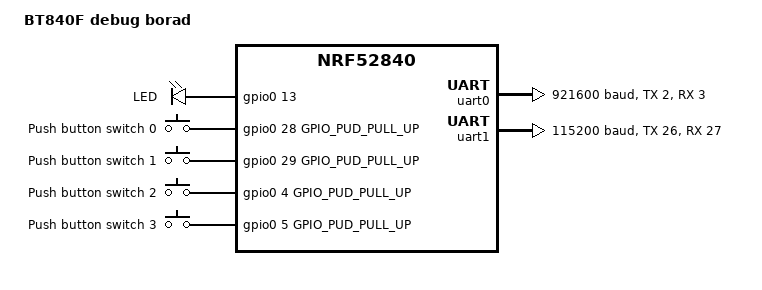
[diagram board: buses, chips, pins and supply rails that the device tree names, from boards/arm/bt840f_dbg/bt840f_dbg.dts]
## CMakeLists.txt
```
# SPDX-License-Identifier: Apache-2.0

cmake_minimum_required(VERSION 3.13.1)
# Re-direct the directory where the 'boards' directory is found from
# $ZEPHYR_BASE to this directory.
set(BOARD_ROOT ${CMAKE_CURRENT_LIST_DIR})

if(NOT DEFINED BOARD)
   set(BOARD bt840f_dbg)
endif()

include($ENV{ZEPHYR_BASE}/cmake/app/boilerplate.cmake NO_POLICY_SCOPE)
project(BT-rate-test)

target_sources(app PRIVATE
  src/main.c
  src/bt.c
  src/lna.c
  src/hog.c
)

zephyr_library_include_directories(src/)
```

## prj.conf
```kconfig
# Incresed stack due to settings API usage
CONFIG_SYSTEM_WORKQUEUE_STACK_SIZE=2048

CONFIG_BT=y
CONFIG_BT_DEBUG_LOG=y

CONFIG_BT_SMP=y
CONFIG_BT_SIGNING=y
CONFIG_BT_PERIPHERAL=y
CONFIG_BT_GATT_DIS=y
CONFIG_BT_ATT_PREPARE_COUNT=5
# Uncomment for dunamic address
# CONFIG_BT_PRIVACY=y
CONFIG_BT_DEVICE_NAME="BLE rate tester"
CONFIG_BT_DEVICE_APPEARANCE=0
CONFIG_BT_DEVICE_NAME_DYNAMIC=y
CONFIG_BT_DEVICE_NAME_MAX=65
#Number of devices paired
CONFIG_BT_MAX_PAIRED=2
#Number of connections. Leave 1 pls.
CONFIG_BT_MAX_CONN=1
CONFIG_BT_SETTINGS=y
# Large MTU
CONFIG_BT_HCI_ACL_FLOW_CONTROL=y
CONFIG_BT_ACL_RX_COUNT=4
CONFIG_BT_L2CAP_TX_MTU=512
CONFIG_BT_L2CAP_RX_MTU=512
#BT timing
CONFIG_BT_PERIPHERAL_PREF_MIN_INT=10
CONFIG_BT_PERIPHERAL_PREF_MAX_INT=12
CONFIG_BT_PERIPHERAL_PREF_TIMEOUT=100
#Debug paring
#CONFIG_BT_DEBUG_SMP=y
#CONFIG_BT_KEYS_OVERWRITE_OLDEST=y
#CONFIG_BT_KEYS_SAVE_AGING_COUNTER_ON_PAIRING=y

#Tune to speed up large packet send
CONFIG_BT_CTLR_TX_BUFFER_SIZE=248
CONFIG_BT_CTLR_DATA_LENGTH_MAX=248


# LNA & PA
# Required for fanstel BT840f.
# On other platforms may be used to measure RX/TX activiti with an osciloscope
CONFIG_BT_CTLR_GPIO_LNA=y
CONFIG_BT_CTLR_GPIO_LNA_PIN=19
CONFIG_BT_CTLR_GPIO_PA=y
CONFIG_BT_CTLR_GPIO_PA_PIN=17

# We do not need polarity inversion on BT840f
# CONFIG_BT_CTLR_GPIO_LNA_POL_INV=y
# May need to adjust this. Time from pin asserted to LNA ON
# CONFIG_BT_CTLR_GPIO_LNA_OFFSET=5


# We do not need polarity inversion on BT840f
# CONFIG_BT_CTLR_GPIO_PA_POL_INV=y
# May need to adjust this. Time from pin asserted to PA ON
# CONFIG_BT_CTLR_GPIO_LNA_OFFSET=5

# Output PWR adjust (0dBm by default):
# CONFIG_BT_CTLR_TX_PWR_PLUS_3=y
# CONFIG_BT_CTLR_TX_PWR_PLUS_4=y
# CONFIG_BT_CTLR_TX_PWR_PLUS_8=y

CONFIG_FLASH=y
CONFIG_FLASH_PAGE_LAYOUT=y
CONFIG_FLASH_MAP=y
CONFIG_FCB=y
CONFIG_SETTINGS=y
CONFIG_SETTINGS_FCB=y

CONFIG_UART_INTERRUPT_DRIVEN=y
CONFIG_SERIAL=y
CONFIG_STDOUT_CONSOLE=y

CONFIG_SHELL=y
CONFIG_LOG=y
CONFIG_LOG_BUFFER_SIZE=4096
CONFIG_LOG_STRDUP_MAX_STRING=64
CONFIG_LOG_STRDUP_BUF_COUNT=8
CONFIG_LOG_PRINTK=y
CONFIG_KERNEL_SHELL=y
CONFIG_INIT_STACKS=y
CONFIG_THREAD_MONITOR=y
CONFIG_THREAD_NAME=y
CONFIG_DEVICE_SHELL=y
CONFIG_REBOOT=y

CONFIG_ZERO_LATENCY_IRQS=y
CONFIG_MAIN_STACK_SIZE=1024
# Required on some platforms
#CONFIG_TEST_RANDOM_GENERATOR=y
#CONFIG_TIMER_RANDOM_GENERATOR=y
```

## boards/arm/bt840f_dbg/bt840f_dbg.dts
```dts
/dts-v1/;
#include <nordic/nrf52840_qiaa.dtsi>

/ {
	model = "BT840F debug borad";
	compatible = "nordic,bt840f_dbg", "nordic,nrf52840-qiaa",
		     "nordic,nrf52840";

	chosen {
		zephyr,console = &uart0;
		zephyr,shell-uart = &uart0;
		zephyr,uart-mcumgr = &uart0;
		zephyr,bt-mon-uart = &uart0;
		zephyr,bt-c2h-uart = &uart0;
		zephyr,sram = &sram0;
		zephyr,flash = &flash0;
		zephyr,code-partition = &slot0_partition;
	};

	/* These aliases are provided for compatibility with samples */
	aliases {
		led0 = &led0;
	};

	leds {
		compatible = "gpio-leds";
		led0: led_0 {
			gpios = <&gpio0 13 0>;
			label = "LED";
		};
	};

	buttons {
		compatible = "gpio-keys";
		button0: button_0 {
			gpios = <&gpio0 28 GPIO_PUD_PULL_UP>;
			label = "Push button switch 0";
		};
		button1: button_1 {
			gpios = <&gpio0 29 GPIO_PUD_PULL_UP>;
			label = "Push button switch 1";
		};
		button2: button_2 {
			gpios = <&gpio0 4 GPIO_PUD_PULL_UP>;
			label = "Push button switch 2";
		};
		button3: button_3 {
			gpios = <&gpio0 5 GPIO_PUD_PULL_UP>;
			label = "Push button switch 3";
		};
	};	
};

&gpiote {
	status = "okay";
};

&gpio0 {
	status = "okay";
};


&gpio1 {
	status = "okay";
};

&uart0 {
	compatible = "nordic,nrf-uart";
	current-speed = <921600>;
	status = "okay";
	tx-pin = <2>;
	rx-pin = <3>;
};

control_serial: &uart1 {
	status = "okay";
	current-speed = <115200>;
	rx-pin = <27>;
	tx-pin = <26>;
/*	rts-pin = <30>;
	cts-pin = <31>;	*/
};


&flash0 {
	/*
	 * For more information, see:
	 * http://docs.zephyrproject.org/latest/guides/dts/index.html#flash-partitions
	 */
	partitions {
		compatible = "fixed-partitions";
		#address-cells = <1>;
		#size-cells = <1>;

		boot_partition: partition@0 {
			label = "mcuboot";
			reg = <0x000000000 0x0000C000>;
		};
		slot0_partition: partition@c000 {
			label = "image-0";
			reg = <0x0000C000 0x000067000>;
		};
		slot1_partition: partition@73000 {
			label = "image-1";
			reg = <0x00073000 0x000067000>;
		};
		scratch_partition: partition@da000 {
			label = "image-scratch";
			reg = <0x000da000 0x0001e000>;
		};

		/*
		 * The flash starting at 0x000f8000 and ending at
		 * 0x000fffff is reserved for use by the application.
		 */

		/* Storage partition will be used by FCB/NFFS/NVS if enabled. */
		storage_partition: partition@f8000 {
			label = "storage";
			reg = <0x000f8000 0x00008000>;
		};
	};
};
```

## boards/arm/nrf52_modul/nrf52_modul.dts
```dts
/*
 * Copyright (c) 2017 Linaro Limited
 *
 * SPDX-License-Identifier: Apache-2.0
 */

/dts-v1/;
#include <nordic/nrf52832_qfaa.dtsi>

/ {
	model = "Redbear BLE Nano 2";
	compatible = "redbear,blenano2", "nordic,nrf52832-qfaa",
		     "nordic,nrf52832";

	chosen {
		zephyr,console = &uart0;
		zephyr,shell-uart = &uart0;
		zephyr,bt-mon-uart = &uart0;
		zephyr,bt-c2h-uart = &uart0;
		zephyr,sram = &sram0;
		zephyr,flash = &flash0;
		zephyr,code-partition = &slot0_partition;
	};

	/* These aliases are provided for compatibility with samples */
	aliases {
		led0 = &led0;
	};

	leds {
		compatible = "gpio-leds";
		led0: led_0 {
			gpios = <&gpio0 11 0>;
			label = "LED";
		};
	};
};

&gpiote {
	status = "okay";
};

&gpio0 {
	status = "okay";
};

&uart0 {
	compatible = "nordic,nrf-uart";
	current-speed = <921600>;
	status = "okay";
	tx-pin = <2>;
	rx-pin = <3>;
};

&flash0 {
	/*
	 * For more information, see:
	 * http://docs.zephyrproject.org/latest/guides/dts/index.html#flash-partitions
	 */
	partitions {
		compatible = "fixed-partitions";
		#address-cells = <1>;
		#size-cells = <1>;

		boot_partition: partition@0 {
			label = "mcuboot";
			reg = <0x00000000 0x8000>;
		};
		slot0_partition: partition@8000 {
			label = "image-0";
			reg = <0x00008000 0x34000>;
		};
		slot1_partition: partition@3c000 {
			label = "image-1";
			reg = <0x0003c000 0x34000>;
		};
		scratch_partition: partition@70000 {
			label = "image-scratch";
			reg = <0x00070000 0xa000>;
		};

		/*
		 * The flash starting at 0x0007a000 and ending at
		 * 0x0007ffff (sectors 122-127) is reserved for use
		 * by the application. If enabled, partition for FCB/NFFS
		 * will be created in this area.
		 */
		storage_partition: partition@7a000 {
			label = "storage";
			reg = <0x0007a000 0x00006000>;
		};
	};
};
```

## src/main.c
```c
/* main.c - Application main entry point */

#include <zephyr/types.h>
#include <stddef.h>
#include <string.h>
#include <errno.h>
#include <zephyr.h>

#include <strings.h>
#include <stdlib.h>
#include <stdio.h>

#include <settings/settings.h>

#include <bluetooth/bluetooth.h>
#include <bluetooth/hci.h>
#include <bluetooth/conn.h>
#include <bluetooth/uuid.h>
#include <bluetooth/gatt.h>
#include <bluetooth/services/bas.h>
#include <../subsys/bluetooth/host/keys.h>

#include <shell/shell.h>

#include "bt.h"
#include "lna.h"

#define LOG_LEVEL 4
#include <logging/log.h>
LOG_MODULE_REGISTER(app);

void main(void)
{
    lna_init();
    bt_init();
}

static int cmd_notify(const struct shell *shell, size_t argc, char **argv)
{
    if (argc >= 2){
        if ((0 == strncasecmp(argv[1],"on",3)) || (0 == strncasecmp(argv[1],"1",3))) {
            shell_print(shell, "Notifications enabled, delay %dms", debug_notify_delay_get());
            debug_notify_enable_set(1);
            return 0;
        } else if ((0 == strncasecmp(argv[1],"off",3)) || (0 == strncasecmp(argv[1],"0",3))){
            shell_print(shell, "Notifications disabled");
            debug_notify_enable_set(0);
            return 0;
        }
    }

    shell_print(shell, "Usage: %s <on|1|off|0>", (argc) ? argv[0] : "notify");

    return 0;
}

#define INTERVAL_DELAY_MIN 1
#define INTERVAL_DELAY_MAX 10000

static int cmd_interval(const struct shell *shell, size_t argc, char **argv)
{
    if (argc >= 2){
        int new_delay = atoi(argv[1]);
        if ((new_delay >= INTERVAL_DELAY_MIN) && (new_delay <= INTERVAL_DELAY_MAX)){
            debug_notify_delay_set(new_delay);
            shell_print(shell, "Interval set to %dms", new_delay);
            shell_print(shell, "Notifications: %s", debug_notify_enable_get() ? "On" : "Off");
            return 0;
        } else {
            shell_print(shell, "Bad delay: \"%s\"", argv[1]);
        }
    }

    shell_print(shell, "Usage: %s <delay> (%d..%d)", (argc) ? argv[0] : "interval", INTERVAL_DELAY_MIN, INTERVAL_DELAY_MAX);

    return 0;
}

static int cmd_datasize(const struct shell *shell, size_t argc, char **argv)
{
    if (argc >= 2){
        int new_sample_size = atoi(argv[1]);
        if ((new_sample_size > 0) && (new_sample_size <= MAX_ATTR_SIZE)){
            set_size_to_notify(new_sample_size);
            shell_print(shell, "Data sample size set to %d bytes", new_sample_size);
            shell_print(shell, "Notifications: %s", debug_notify_enable_get() ? "On" : "Off");
            return 0;
        } else {
            shell_print(shell, "Bad data sample size: \"%s\"", argv[1]);
        }
    }

    shell_print(shell, "Usage: %s <data sample size in bytes> (1 .. %d)", (argc) ? argv[0] : "datasize", MAX_ATTR_SIZE);

    return 0;
}
//int bt_conn_le_param_update(struct bt_conn *conn, const struct bt_le_conn_param *param)

static int cmd_btparam(const struct shell *shell, size_t argc, char **argv)
{
    int minint = 0;
    int maxint = 0;
    int latency = CONFIG_BT_PERIPHERAL_PREF_SLAVE_LATENCY;
    int timeout = CONFIG_BT_PERIPHERAL_PREF_TIMEOUT;


    if (argc >= 3){
        minint  = ((atoi(argv[1])+1) * 4)/5;
        maxint  = ((atoi(argv[2])+1) * 4)/5;
        if (argc > 3) latency = atoi(argv[3]);
        if (argc > 4) timeout = (atoi(argv[4])+5) / 10;
        if (minint < 6){
            shell_print(shell, "min int too short");
            return 0;            
        }
        if (maxint < minint){
            shell_print(shell, "max int too short");
            return 0;
        }
        if (latency < 0){
            shell_print(shell, "latency too short");
            return 0;
        }
        if (10 * timeout < 16 * (1 + latency) * maxint){
            shell_print(shell, "timeout too short");
            return 0;
        }
        if (timeout >= 3200){
            shell_print(shell, "timeout too long");
            return 0;
        }
        struct bt_conn * conn;
        if ((conn = conn_get())) {
            int rv = bt_conn_le_param_update(conn, BT_LE_CONN_PARAM(minint, maxint, latency, timeout));
            
            shell_print(shell, "Update connection parameters. Result=%d",rv);
            
            return 0;
        } else {
            shell_print(shell, "No active connection, nothing to update");
            return 0;
        }
    }

    shell_print(shell, "Usage: %s <min int> <max int> [latency] [timeout]. All times in ms", (argc) ? argv[0] : "btparam");

    return 0;
}

static int cmd_unpair(const struct shell *shell, size_t argc, char **argv)
{
    int rv = bt_unpair(BT_ID_DEFAULT, BT_ADDR_LE_ANY);
    shell_print(shell, "Unpairing. Result: %d", rv);
    return 0;
}

static void bt_keys_print(struct bt_keys *keys, void *data){
    shell_print(data, "Keys for %02x:%02x:%02x:%02x:%02x:%02x (type %x) ", 
        keys->addr.a.val[0], keys->addr.a.val[1], keys->addr.a.val[2],
        keys->addr.a.val[3], keys->addr.a.val[4], keys->addr.a.val[5],
        keys->addr.type );
    shell_print(data, "  id=0x%x, size=0x%x, flags=0x%x, keys=0x%04x", keys->id, keys->enc_size, keys->flags, keys->keys);
    shell_print(data, "  irk=%02x%02x%02x%02x-%02x%02x%02x%02x-%02x%02x%02x%02x-%02x%02x%02x%02x",
        keys->irk.val[0], keys->irk.val[1], keys->irk.val[2], keys->irk.val[3], 
        keys->irk.val[4], keys->irk.val[5], keys->irk.val[6], keys->irk.val[7], 
        keys->irk.val[8], keys->irk.val[9], keys->irk.val[10],keys->irk.val[11], 
        keys->irk.val[12],keys->irk.val[13],keys->irk.val[14],keys->irk.val[15]); 
    shell_print(data, "  irk addr=%02x:%02x:%02x:%02x:%02x:%02x",
        keys->irk.rpa.val[0], keys->irk.rpa.val[1], keys->irk.rpa.val[2], 
        keys->irk.rpa.val[3], keys->irk.rpa.val[4], keys->irk.rpa.val[5]);
#if defined(CONFIG_BT_KEYS_OVERWRITE_OLDEST)
    shell_print(data, "  cntr=%d", keys->aging_counter);
#endif    
}

static int cmd_pairinfo(const struct shell *shell, size_t argc, char **argv)
{
    bt_keys_foreach(0xffff, bt_keys_print, (void*) shell);
    return 0;
}

static int cmd_confirm(const struct shell *shell, size_t argc, char **argv)
{
    int rv = bt_confirm_paring();
    shell_print(shell, "Confirm result: %d", rv);
    return 0;
}

SHELL_STATIC_SUBCMD_SET_CREATE(sub_rate,
    SHELL_CMD(notify,   NULL, "Enable/disable simulated notify", cmd_notify),
    SHELL_CMD(interval, NULL, "Configure notification interval", cmd_interval),
    SHELL_CMD(datasize, NULL, "Configure notification data size", cmd_datasize),
    SHELL_CMD(btparam,  NULL, "Configure BT connection parameters", cmd_btparam),
    SHELL_CMD(unpair,   NULL, "Unpair all devices", cmd_unpair),
    SHELL_CMD(pairinfo, NULL, "Print paring info", cmd_pairinfo),
    SHELL_CMD(confirm,  NULL, "Confirm paring", cmd_confirm),
    SHELL_SUBCMD_SET_END /* Array terminated. */
);

SHELL_CMD_REGISTER(rate, &sub_rate, "Rate test commands", NULL);
```

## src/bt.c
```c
/* BT management code */

#include <zephyr/types.h>
#include <stddef.h>
#include <string.h>
#include <stdio.h>
#include <errno.h>
#include <sys/byteorder.h>
#include <errno.h>
#include <zephyr.h>

#include <strings.h>
#include <stdlib.h>

#include <bluetooth/bluetooth.h>
#include <bluetooth/hci.h>
#include <bluetooth/conn.h>
#include <bluetooth/uuid.h>
#include <bluetooth/gatt.h>
#include <settings/settings.h>
#include <../subsys/bluetooth/host/keys.h>

#include "bt.h"

#define LOG_LEVEL 4
#include <logging/log.h>
LOG_MODULE_REGISTER(bt);


#define RATE_DATA_SERVICE_INITIALIZER                    0x00, 0x00, 0x00, 0x00, 0x00, 0x00, 0x00, 0x00, \
                                                         0xBC, 0x9A, 0x78, 0x56, 0x00, 0x11, 0x34, 0x12

#define RATE_DATA_INITIALIZER                            0x00, 0x00, 0x00, 0x00, 0x00, 0x00, 0x00, 0x00, \
                                                         0xBC, 0x9A, 0x78, 0x56, 0x01, 0x11, 0x34, 0x12

static struct bt_uuid_128 rate_data_data_service_uuid = BT_UUID_INIT_128(RATE_DATA_SERVICE_INITIALIZER);
static struct bt_uuid_128 rate_data_uuid =              BT_UUID_INIT_128(RATE_DATA_INITIALIZER);


static uint8_t rate_data_frame_value[MAX_ATTR_SIZE] = {
};


appl_attr_info_t appl_local_attrs[] = {
    {
        .size = sizeof(rate_data_frame_value),
        .data_ptr = &rate_data_frame_value,
    },
};

#define IS_ATTR_LOCAL(arg) (((uint32_t)arg >= (uint32_t)&appl_local_attrs) && \
    ((uint32_t)arg < ((uint32_t)&appl_local_attrs) + sizeof(appl_local_attrs)))

static uint16_t appl_id_from_uuid(const struct bt_uuid * uuid){
    if (BT_UUID_TYPE_128 != uuid->type) return 0;
    uint8_t * pval = (uint8_t*) &(((struct bt_uuid_128 *) uuid)->val);
    return (pval[13] << 8) | (pval[12]);
}

static appl_attr_info_t * appl_attr_get(uint16_t new_appl_id){
    if (!(new_appl_id)) return NULL;
    for (int i = 0; i < sizeof(appl_local_attrs)/sizeof(appl_local_attrs[0]); ++i){
        if (new_appl_id == appl_local_attrs[i].appl_id) return &appl_local_attrs[i];
    }
    return NULL;
}

appl_attr_info_t * get_attr_by_appl_id(uint16_t appl_id){
    if (!(appl_id)) return NULL;
    for (int i = 0; i < sizeof(appl_local_attrs)/sizeof(appl_local_attrs[0]); ++i){
        if (appl_id == appl_local_attrs[i].appl_id) return &appl_local_attrs[i];
    }
    return NULL;
}

static u16_t find_static_handle_for_attr(const struct bt_gatt_attr *attr)
{
    u16_t handle = 1;

    Z_STRUCT_SECTION_FOREACH(bt_gatt_service_static, static_svc) {
        for (int i = 0; i < static_svc->attr_count; i++, handle++) {
            if (attr == &static_svc->attrs[i]) {
                return handle;
            }
        }
    }
    return 0;
}

static const struct bt_gatt_attr *find_static_attr_by_handle(uint16_t f_handle)
{
    if (f_handle < 1) return NULL;
    u16_t handle = 1;

        Z_STRUCT_SECTION_FOREACH(bt_gatt_service_static, static_svc) {
            /* Skip ahead if start is not within service handles */
            if (handle + static_svc->attr_count < f_handle) {
                handle += static_svc->attr_count;
                continue;
            }
            
            int i = f_handle - handle;
            return &static_svc->attrs[i];
        }
    return NULL;
}

static ssize_t read_def(struct bt_conn *conn, const struct bt_gatt_attr *attr,
            void *buf, u16_t len, u16_t offset)
{
    if (!IS_ATTR_LOCAL(attr->user_data)) return BT_GATT_ERR(BT_ATT_ERR_OUT_OF_RANGE);

    const appl_attr_info_t * info = attr->user_data;
    const char *value = info->data_ptr;
    const uint16_t size = info->size;

    LOG_INF("Read attr local ID 0x%4x ofs=0x%x len=0x%x", info->appl_id, offset, len);

    return bt_gatt_attr_read(conn, attr, buf, len, offset, value, size);
}

static ssize_t write_def(struct bt_conn *conn, const struct bt_gatt_attr *attr,
             const void *buf, u16_t len, u16_t offset,
             u8_t flags)
{
    if (!IS_ATTR_LOCAL(attr->user_data)) return BT_GATT_ERR(BT_ATT_ERR_OUT_OF_RANGE);
    
    const appl_attr_info_t * info = attr->user_data;
    char *value = info->data_ptr;
    const uint16_t size = info->size;

    if (offset + len > size) {
        LOG_ERR("Too long write to attr local ID 0x%4x len=%d ofs=%d)",info->appl_id, len, offset);
        return BT_GATT_ERR(BT_ATT_ERR_INVALID_OFFSET);
    }
    
    LOG_INF("Write to attr local ID 0x%4x len=%d ofs=%d",info->appl_id, len, offset);
    
    memcpy(value + offset, buf, len);
    if ((size - offset - len) > 0) memset(value + offset + len, 0, size - offset - len );

    return len;
}


static void ccc_cfg_changed(const struct bt_gatt_attr *attr, u16_t value)
{
    const struct bt_gatt_attr * attr1 = find_static_attr_by_handle(attr->handle - 1);
    LOG_WRN("Configuration for %s: [%s%s]",
        (attr1) ? bt_uuid_str(attr1->uuid) : "<unknown attr>",
         (BT_GATT_CCC_NOTIFY == value) ? "Notify":"",
         (BT_GATT_CCC_INDICATE == value) ? "Indicate":"");
}

// Rate 
BT_GATT_SERVICE_DEFINE(rate_data_data_service,
    BT_GATT_PRIMARY_SERVICE(&rate_data_data_service_uuid),
    BT_GATT_CHARACTERISTIC(&rate_data_uuid.uuid,
                   BT_GATT_CHRC_READ | BT_GATT_CHRC_NOTIFY ,
                   BT_GATT_PERM_READ,
                   read_def, NULL, &appl_local_attrs[0]),
    BT_GATT_CCC(ccc_cfg_changed, BT_GATT_PERM_READ | BT_GATT_PERM_WRITE),
);

static const struct bt_data ad[] = {
    BT_DATA_BYTES(BT_DATA_FLAGS, (BT_LE_AD_GENERAL | BT_LE_AD_NO_BREDR)),
    BT_DATA_BYTES(BT_DATA_UUID16_ALL, 0x12, 0x18),
    BT_DATA_BYTES(BT_DATA_UUID128_ALL, RATE_DATA_SERVICE_INITIALIZER),
};

static struct bt_conn * g_conn;

static void connected(struct bt_conn *conn, u8_t err)
{
    if (err) {
        LOG_INF("Connection failed (err 0x%02x)", err);
    } else {
        g_conn = conn;
        LOG_INF("Connected");
    }
}

static void disconnected(struct bt_conn *conn, u8_t reason)
{
    g_conn = NULL;
    LOG_INF("Disconnected (reason 0x%02x)", reason);
}

static void param_updated(struct bt_conn *conn, u16_t interval, u16_t latency, u16_t timeout){
        int mtu = bt_gatt_get_mtu(conn);

        int ibp = (5 * interval) / 4;
        int iap = (125*interval) % 100;

        int lbp = (5 * latency) / 4;
        int lap = (125*latency) % 100;
    
        LOG_WRN("Connection params updated, MTU = %u, interval=%d.%02dms, latency=%d.%02dms, timeout = %dms", mtu,
            ibp, iap, lbp, lap, 10 * timeout);
}

static void le_security_changed(struct bt_conn *conn, bt_security_t level,
                 enum bt_security_err err){
        LOG_WRN("Connection security changed: level=%d error=%d", level, err);   
}

static struct bt_conn_cb conn_callbacks = {
    .connected = connected,
    .disconnected = disconnected,
    .le_param_updated = param_updated,
    .security_changed = le_security_changed,
};

static void bt_ready(int err)
{
    if (err) {
        LOG_INF("Bluetooth init failed (err %d)", err);
        return;
    }

    LOG_INF("Bluetooth initialized");

    if (IS_ENABLED(CONFIG_SETTINGS)) {
        settings_load();
    }

    err = bt_le_adv_start(BT_LE_ADV_CONN_NAME, ad, ARRAY_SIZE(ad), NULL, 0);
    if (err) {
        LOG_INF("Advertising failed to start (err %d)", err);
        return;
    }

    LOG_INF("Advertising successfully started");
}

static void auth_passkey_display(struct bt_conn *conn, unsigned int passkey)
{
    char addr[BT_ADDR_LE_STR_LEN];

    bt_addr_le_to_str(bt_conn_get_dst(conn), addr, sizeof(addr));

    LOG_ERR("Passkey for %s: %06u", log_strdup(addr), passkey);
}

static struct bt_conn *conn_to_confirm = NULL;

static void auth_cancel(struct bt_conn *conn)
{
    char addr[BT_ADDR_LE_STR_LEN];

    bt_addr_le_to_str(bt_conn_get_dst(conn), addr, sizeof(addr));

    LOG_INF("Pairing cancelled: %s", log_strdup(addr));

    conn_to_confirm = NULL;
}

static void auth_pairing_complete(struct bt_conn *conn, bool bonded)
{
    char addr[BT_ADDR_LE_STR_LEN];

    bt_addr_le_to_str(bt_conn_get_dst(conn), addr, sizeof(addr));

    LOG_INF("Pairing complete: %s reult: %s", log_strdup(addr), bonded ? "Bonded":"Not bonded");

    conn_to_confirm = NULL;
}

static void auth_pairing_failed(struct bt_conn *conn, enum bt_security_err reason)
{
    char addr[BT_ADDR_LE_STR_LEN];

    bt_addr_le_to_str(bt_conn_get_dst(conn), addr, sizeof(addr));

    LOG_INF("Pairing failed: bt%s result: %d", log_strdup(addr), reason);

    conn_to_confirm = NULL;
}

static void auth_pairing_confirm(struct bt_conn *conn){
    char addr[BT_ADDR_LE_STR_LEN];

    bt_addr_le_to_str(bt_conn_get_dst(conn), addr, sizeof(addr));

    LOG_INF("Pairing confirm request: %s", log_strdup(addr));

    conn_to_confirm = conn;
}

static struct bt_conn_auth_cb auth_cb_display = {
    .passkey_display = auth_passkey_display,
//    .passkey_display = NULL,
    .passkey_entry = NULL,
    .cancel = auth_cancel,
    .pairing_complete = auth_pairing_complete,
    .pairing_failed = auth_pairing_failed,
//    .pairing_confirm = auth_pairing_confirm,
};

int bt_confirm_paring(void){
    return (conn_to_confirm) ? bt_conn_auth_pairing_confirm(conn_to_confirm) : -ENOTCONN;
}

static void attrs_post_init(){
    Z_STRUCT_SECTION_FOREACH(bt_gatt_service_static, static_svc) {
        for (int i = 0; i < static_svc->attr_count; i++) {
            const struct bt_gatt_attr * attr_ptr = &static_svc->attrs[i];
            
            if (IS_ATTR_LOCAL(attr_ptr->user_data)){
                appl_attr_info_t * info = (appl_attr_info_t*) attr_ptr->user_data;
                info->attr_ptr = attr_ptr;
                uint16_t handle = find_static_handle_for_attr(attr_ptr);
                const struct bt_gatt_attr * attr1 = find_static_attr_by_handle(handle - 1);
            
                if ((attr1) && !bt_uuid_cmp(attr1->uuid, BT_UUID_GATT_CHRC)) {
                    struct bt_gatt_chrc *chrc = attr1->user_data;
                    info->properties = chrc->properties;
                }                
                if (0 == info->appl_id){
                    uint16_t new_appl_id = appl_id_from_uuid(attr_ptr->uuid);
                    if (!(appl_attr_get(new_appl_id))) info->appl_id = new_appl_id;
                }
                LOG_DBG("UUID %s known as ID 0x%x, Properties=0x%x handle=%d size=%d",
                    bt_uuid_str(attr_ptr->uuid), info->appl_id, info->properties, handle, info->size);
            }
        }
    }
}

void bt_init(void)
{
    int err = 0;
    attrs_post_init();

    err = bt_enable(bt_ready);
    if (err) {
        LOG_INF("Bluetooth init failed (err %d)", err);
        return;
    }
   
    bt_conn_cb_register(&conn_callbacks);
    bt_conn_auth_cb_register(&auth_cb_display);
}

struct bt_conn * conn_get(void){
    return g_conn;
}

typedef struct notify_msg_s {
    const struct bt_gatt_attr *attr_ptr;
    uint16_t seq_num;
    uint16_t size;
    uint16_t flags;
    uint8_t data[MAX_ATTR_SIZE];
} notify_msg_t;

K_MEM_POOL_DEFINE(notify_pool,BT_MEM_BLOCK_SIZE, BT_MEM_BLOCK_SIZE, 8, 4);

K_MSGQ_DEFINE(notify_msgq, sizeof(struct k_mem_block), 4, 4);
K_MSGQ_DEFINE(indicate_msgq, sizeof(struct k_mem_block), 4, 4);

struct k_poll_signal notify_signal = K_POLL_SIGNAL_INITIALIZER(notify_signal);

int queue_put(const struct bt_gatt_attr *attr_ptr, uint16_t seq_num, uint16_t size,
              uint16_t flags, const void * pdata, struct k_msgq * queue)
{
    struct k_mem_block block;
    if (size > MAX_ATTR_SIZE){
        return -ENOMEM;
    }
    if (0 == k_mem_pool_alloc(&notify_pool, &block, sizeof(notify_msg_t), K_NO_WAIT)){
        notify_msg_t * msg = (notify_msg_t *)block.data;
        msg->attr_ptr = attr_ptr;
        msg->seq_num = seq_num;
        msg->size = size;
        msg->flags = flags;
        memcpy(&(msg->data[0]), pdata, size);
        if (0 == k_msgq_put(queue, &block, K_NO_WAIT)){
            k_poll_signal_raise(&notify_signal, 0);
            return 0;
        } else {
            k_mem_pool_free(&block);
            return -ENOMEM;
        }
    } else {
        return -ENOMEM;
    }
}

int queue_indicate(const struct bt_gatt_attr *attr_ptr, uint16_t seq_num, uint16_t size,
              uint16_t flags, const void * pdata)
{
    const struct bt_gatt_attr * attr1 = find_static_attr_by_handle(find_static_handle_for_attr(attr_ptr) - 1);

    if ((attr1) && !bt_uuid_cmp(attr1->uuid, BT_UUID_GATT_CHRC)) {
        struct bt_gatt_chrc *chrc = attr1->user_data;
        if (!(chrc->properties & BT_GATT_CHRC_INDICATE)) {
            return -EINVAL;
        }
    }
    return queue_put(attr_ptr, seq_num, size, flags, pdata, &indicate_msgq);
}


int queue_notify(const struct bt_gatt_attr *attr_ptr, uint16_t seq_num, uint16_t size,
              uint16_t flags, const void * pdata)
{
    const struct bt_gatt_attr * attr1 = find_static_attr_by_handle(find_static_handle_for_attr(attr_ptr) - 1);

    if ((attr1) && !bt_uuid_cmp(attr1->uuid, BT_UUID_GATT_CHRC)) {
        struct bt_gatt_chrc *chrc = attr1->user_data;
        if (!(chrc->properties & BT_GATT_CHRC_NOTIFY)) {
            return -EINVAL;
        }
    }
    return queue_put(attr_ptr, seq_num, size, flags, pdata, &notify_msgq);
}

static int ind_err;
static int ind_bsy;

static void indicate_cb(struct bt_conn *conn, const struct bt_gatt_attr *attr, u8_t err);

static struct k_poll_event notify_events[1] = {
        K_POLL_EVENT_INITIALIZER(K_POLL_TYPE_SIGNAL,
                                 K_POLL_MODE_NOTIFY_ONLY,
                                 &notify_signal),
    };

void notify_thread(void *arg0, void *arg1, void *arg2){
    (void) arg0;
    (void) arg1;
    (void) arg2;
    struct k_mem_block block;
    while (1){
        k_poll(notify_events, 1, K_FOREVER);
        notify_events[0].signal->signaled = 0;
        notify_events[0].state = K_POLL_STATE_NOT_READY;
        while (0 == k_msgq_get(&indicate_msgq, &block, K_NO_WAIT)){
            notify_msg_t * msg = (notify_msg_t *)block.data;
            uint32_t before = k_cycle_get_32();
            static struct bt_gatt_indicate_params ind_params;
            
            ind_params.attr = msg->attr_ptr;
            ind_params.func = indicate_cb;
            ind_params.data = &msg->data[0];
            ind_params.len = msg->size;
            
            ind_bsy = 1;
            
            int res = bt_gatt_indicate(NULL, &ind_params);

            if (res) {
                ind_bsy = 0;
            } else {
                while (ind_bsy) k_sleep(K_MSEC(1000));
                res = ind_err;
            }

            uint32_t after = k_cycle_get_32();
            int ms = (1000U * (after - before)) / sys_clock_hw_cycles_per_sec();
            LOG_INF("Send indication 0x%02x, (%dms)", msg->seq_num, ms);
            k_mem_pool_free(&block);
        }
        if (0 == k_msgq_get(&notify_msgq, &block, K_NO_WAIT)){
            notify_msg_t * msg = (notify_msg_t *)block.data;
            uint32_t before = k_cycle_get_32();
            int res = bt_gatt_notify(NULL, msg->attr_ptr, &msg->data[0], msg->size);

            uint32_t after = k_cycle_get_32();
            int ms = (1000U * (after - before)) / sys_clock_hw_cycles_per_sec();
            LOG_INF("Send notification 0x%02x, (%dms) rv=%d", msg->seq_num, ms, res);
            k_mem_pool_free(&block);
        }
    }
}

K_THREAD_DEFINE(notify_tid, 1024,
                notify_thread, NULL, NULL, NULL,
                NOTIFY_PRIORITY, 0, K_NO_WAIT);

static void indicate_cb(struct bt_conn *conn, const struct bt_gatt_attr *attr, u8_t err)
{
    ind_err = -err;
    ind_bsy = 0;
    k_wakeup(notify_tid);
}

static int frame_num = 0;

static const int tdigs = 6;
int sample_frame_randomize(int osize){
    if (osize > sizeof(rate_data_frame_value)) osize = sizeof(rate_data_frame_value);
    uint32_t us100_elapsed = (k_cycle_get_32() * 10000LL) / CONFIG_SYS_CLOCK_TICKS_PER_SEC;
    for (uint32_t * pdata = (uint32_t *) &rate_data_frame_value[0]; pdata < &rate_data_frame_value[osize]; ++pdata){
        *pdata = sys_rand32_get();
    }    
    for (int i = tdigs - 1; i >= 0; --i) {
        int shift = (((tdigs-1) & 1) == (i & 1)) ? 0 : 4;
        if (shift){
            rate_data_frame_value[i>>1] |= (us100_elapsed %10) << shift;
        }else {
            rate_data_frame_value[i>>1] = us100_elapsed % 10;
        }
        us100_elapsed /=10;
    }
    frame_num = (1 + frame_num) % 100;
    int num_ofs = (1 + tdigs) >> 1;
    rate_data_frame_value[num_ofs++] = 0;
    rate_data_frame_value[num_ofs++] = frame_num % 10 + ((frame_num /10) << 4);
    rate_data_frame_value[num_ofs] = 0;
    if (osize >= (num_ofs << 1)){
        rate_data_frame_value[osize-num_ofs-1] = 0;
        memcpy(&rate_data_frame_value[osize-num_ofs],&rate_data_frame_value[0], num_ofs);
    }
    return frame_num;
}

static int sample_size_to_notify = sizeof(rate_data_frame_value);

void set_size_to_notify(int size){
    sample_size_to_notify = size;
}

void sample_frame_notify_dbg(int size_to_notify){
    // Debug notification;
    int num = sample_frame_randomize(size_to_notify);
    if (0 == size_to_notify) size_to_notify = sizeof(rate_data_frame_value);
    int res = queue_notify(appl_local_attrs[0].attr_ptr, 0xff00 + num, size_to_notify, 0, &rate_data_frame_value);
    if (res){
        LOG_ERR("Send DBG notification 0x%02x, failed (%d)", num, res);
    } else {
        LOG_INF("Send DBG notification 0x%02x", num);
    }
}

static uint8_t notify_enable = 0;
static int simulate_loop_delay = 33;

void simulate_thread(void *arg0, void *arg1, void *arg2){
    (void) arg0;
    (void) arg1;
    (void) arg2;
    int ms = 0;
    while (1){
            int time_to_sleep = simulate_loop_delay - ms;
            if (time_to_sleep < 1) time_to_sleep = 1;
            if (notify_enable) LOG_INF("Elapsed: %d, Sleep: %d", ms, time_to_sleep);
            k_sleep(K_MSEC(time_to_sleep));
            uint32_t before = k_cycle_get_32();
            if (notify_enable) {
                sample_frame_notify_dbg(sample_size_to_notify);
            }
            k_yield();
            k_yield();

            uint32_t after = k_cycle_get_32();
            ms = (1000U * (after - before)) / sys_clock_hw_cycles_per_sec();
    }
}

K_THREAD_DEFINE(simulate_tid, 1024,
                simulate_thread, NULL, NULL, NULL,
                CONFIG_NUM_PREEMPT_PRIORITIES - 1, 0, K_NO_WAIT);

int debug_notify_enable_get(void){
    return notify_enable;
}

void debug_notify_enable_set(int enable){
    notify_enable = enable;
}

int debug_notify_delay_get(void){
    return simulate_loop_delay;
}

void debug_notify_delay_set(int delay){
    simulate_loop_delay = delay;
}
```

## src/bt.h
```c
#ifndef _WASP_BT_H
#define _WASP_BT_H

#ifdef __cplusplus
extern "C" {
#endif
//  Recommend attr size <= 182 bytes to be compatible with Iphone
#define MAX_ATTR_SIZE     200

#define BT_MEM_BLOCK_SIZE 256

#define NOTIFY_PRIORITY 0


typedef struct appl_attr_info_s {
    uint16_t appl_id;
    uint16_t size;
    void *data_ptr;
    const struct bt_gatt_attr *attr_ptr;
    uint8_t properties;
} appl_attr_info_t;

appl_attr_info_t * get_attr_by_appl_id(uint16_t appl_id);

int bt_confirm_paring(void);

void bt_init(void);
struct bt_conn * conn_get(void);

int queue_notify(const struct bt_gatt_attr *attr_ptr, uint16_t seq_num, uint16_t size, uint16_t flags, const void * pdata);
int queue_indicate(const struct bt_gatt_attr *attr_ptr, uint16_t seq_num, uint16_t size, uint16_t flags, const void * pdata);

void set_size_to_notify(int size);
void sample_frame_notify_dbg(int size_to_notify);

int debug_notify_enable_get(void);
void debug_notify_enable_set( int enable);
int debug_notify_delay_get(void);
void debug_notify_delay_set(int delay);

#ifdef __cplusplus
}
#endif

#endif
```

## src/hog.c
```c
/** 
 *  HoG Service sample
 *  We need this sample just to expose some HID service and reduce connection interval on iPhone
 */

#include <zephyr/types.h>
#include <stddef.h>
#include <string.h>
#include <errno.h>
#include <sys/printk.h>
#include <sys/byteorder.h>
#include <zephyr.h>

#include <bluetooth/bluetooth.h>
#include <bluetooth/hci.h>
#include <bluetooth/conn.h>
#include <bluetooth/uuid.h>
#include <bluetooth/gatt.h>

#define LOG_LEVEL 4
#include <logging/log.h>
LOG_MODULE_REGISTER(hid);

enum {
	HIDS_REMOTE_WAKE = BIT(0),
	HIDS_NORMALLY_CONNECTABLE = BIT(1),
};

struct hids_info {
	u16_t version; /* version number of base USB HID Specification */
	u8_t code; /* country HID Device hardware is localized for. */
	u8_t flags;
} __packed;

struct hids_report {
	u8_t id; /* report id */
	u8_t type; /* report type */
} __packed;

static struct hids_info info = {
	.version = 0x0000,
	.code = 0x00,
	.flags = HIDS_NORMALLY_CONNECTABLE,
};

enum {
	HIDS_INPUT = 0x01,
	HIDS_OUTPUT = 0x02,
	HIDS_FEATURE = 0x03,
};

static struct hids_report input = {
	.id = 0x01,
	.type = HIDS_INPUT,
};

static u8_t simulate_input;
static u8_t ctrl_point;
static u8_t report_map[] = {
	0x05, 0x01, /* Usage Page (Generic Desktop Ctrls) */
	0x09, 0x02, /* Usage (Mouse) */
	0xA1, 0x01, /* Collection (Application) */
	0x09, 0x01, /*   Usage (Pointer) */
	0xA1, 0x00, /*   Collection (Physical) */
	0x05, 0x09, /*     Usage Page (Button) */
	0x19, 0x01, /*     Usage Minimum (0x01) */
	0x29, 0x03, /*     Usage Maximum (0x03) */
	0x15, 0x00, /*     Logical Minimum (0) */
	0x25, 0x01, /*     Logical Maximum (1) */
	0x95, 0x03, /*     Report Count (3) */
	0x75, 0x01, /*     Report Size (1) */
	0x81, 0x02, /*     Input (Data,Var,Abs,No Wrap,Linear,...) */
	0x95, 0x01, /*     Report Count (1) */
	0x75, 0x05, /*     Report Size (5) */
	0x81, 0x03, /*     Input (Const,Var,Abs,No Wrap,Linear,...) */
	0x05, 0x01, /*     Usage Page (Generic Desktop Ctrls) */
	0x09, 0x30, /*     Usage (X) */
	0x09, 0x31, /*     Usage (Y) */
	0x15, 0x81, /*     Logical Minimum (129) */
	0x25, 0x7F, /*     Logical Maximum (127) */
	0x75, 0x08, /*     Report Size (8) */
	0x95, 0x02, /*     Report Count (2) */
	0x81, 0x06, /*     Input (Data,Var,Rel,No Wrap,Linear,...) */
	0xC0,       /*   End Collection */
	0xC0,       /* End Collection */
};


static ssize_t read_info(struct bt_conn *conn,
			  const struct bt_gatt_attr *attr, void *buf,
			  u16_t len, u16_t offset)
{
	LOG_INF("Read info 0x%x, 0x%x", offset, len);
	return bt_gatt_attr_read(conn, attr, buf, len, offset, attr->user_data,
				 sizeof(struct hids_info));
}

static ssize_t read_report_map(struct bt_conn *conn,
			       const struct bt_gatt_attr *attr, void *buf,
			       u16_t len, u16_t offset)
{
	LOG_INF("Read report map 0x%x, 0x%x", offset, len);
	return bt_gatt_attr_read(conn, attr, buf, len, offset, report_map,
				 sizeof(report_map));
}

static ssize_t read_report(struct bt_conn *conn,
			   const struct bt_gatt_attr *attr, void *buf,
			   u16_t len, u16_t offset)
{
	LOG_INF("Read report 0x%x, 0x%x", offset, len);
	return bt_gatt_attr_read(conn, attr, buf, len, offset, attr->user_data,
				 sizeof(struct hids_report));
}

static void input_ccc_changed(const struct bt_gatt_attr *attr, u16_t value)
{
	simulate_input = (value == BT_GATT_CCC_NOTIFY) ? 1 : 0;
}

static ssize_t read_input_report(struct bt_conn *conn,
				 const struct bt_gatt_attr *attr, void *buf,
				 u16_t len, u16_t offset)
{
	LOG_INF("Read input report 0x%x, 0x%x", offset, len);
	return bt_gatt_attr_read(conn, attr, buf, len, offset, NULL, 0);
}

static ssize_t write_ctrl_point(struct bt_conn *conn,
				const struct bt_gatt_attr *attr,
				const void *buf, u16_t len, u16_t offset,
				u8_t flags)
{
	u8_t *value = attr->user_data;

	if (offset + len > sizeof(ctrl_point)) {
		return BT_GATT_ERR(BT_ATT_ERR_INVALID_OFFSET);
	}

	memcpy(value + offset, buf, len);

	LOG_INF("Write control point 0x%x, 0x%x", offset, len);

	return len;
}

/* HID Service Declaration */
BT_GATT_SERVICE_DEFINE(hog_svc,
	BT_GATT_PRIMARY_SERVICE(BT_UUID_HIDS),
	BT_GATT_CHARACTERISTIC(BT_UUID_HIDS_INFO, BT_GATT_CHRC_READ,
			       BT_GATT_PERM_READ, read_info, NULL, &info),
	BT_GATT_CHARACTERISTIC(BT_UUID_HIDS_REPORT_MAP, BT_GATT_CHRC_READ,
			       BT_GATT_PERM_READ, read_report_map, NULL, NULL),
	BT_GATT_CHARACTERISTIC(BT_UUID_HIDS_REPORT,
			       BT_GATT_CHRC_READ | BT_GATT_CHRC_NOTIFY,
			       BT_GATT_PERM_READ_AUTHEN,
			       read_input_report, NULL, NULL),
	BT_GATT_CCC(input_ccc_changed, BT_GATT_PERM_READ_AUTHEN | BT_GATT_PERM_WRITE_AUTHEN),
	BT_GATT_DESCRIPTOR(BT_UUID_HIDS_REPORT_REF, BT_GATT_PERM_READ,
			   read_report, NULL, &input),
	BT_GATT_CHARACTERISTIC(BT_UUID_HIDS_CTRL_POINT,
			       BT_GATT_CHRC_WRITE_WITHOUT_RESP,
			       BT_GATT_PERM_WRITE,
			       NULL, write_ctrl_point, &ctrl_point),
);

void hog_init(void)
{
}
```

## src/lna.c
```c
/* main.c - Application main entry point */

#include <zephyr.h>
#include <device.h>
#include <drivers/gpio.h>


#define LOG_LEVEL 4
#include <logging/log.h>
LOG_MODULE_REGISTER(lna);

#define BT840F_LNA_GPIO_DEV "GPIO_0"
#define BT840F_APP_CHL_PIN  8 
#define BT840F_APP_CPS_PIN  6 
#define BT840F_APP_CHL_VAL  1 
#define BT840F_APP_CPS_VAL  0 

void lna_init(void)
{
    if (0 == strcmp(CONFIG_BOARD, "bt840f_dbg")){
        struct device * gpio_dev = device_get_binding(BT840F_LNA_GPIO_DEV);
        if (!gpio_dev){
            LOG_ERR("LNA/PA GPIO device \"%s\" not found",BT840F_LNA_GPIO_DEV);
        } else {
            gpio_pin_configure(gpio_dev, BT840F_APP_CHL_PIN, GPIO_DIR_OUT);
            gpio_pin_configure(gpio_dev, BT840F_APP_CPS_PIN, GPIO_DIR_OUT);
            gpio_pin_write(gpio_dev, BT840F_APP_CHL_PIN, BT840F_APP_CHL_VAL);
            gpio_pin_write(gpio_dev, BT840F_APP_CPS_PIN, BT840F_APP_CPS_VAL);
            LOG_INF("LNA/PA CHL pin (%d) is set to %d",BT840F_APP_CHL_PIN, BT840F_APP_CHL_VAL);
            LOG_INF("LNA/PA CPS pin (%d) is set to %d",BT840F_APP_CPS_PIN, BT840F_APP_CPS_VAL);
        }
    }

#ifdef CONFIG_BT_CTLR_GPIO_LNA        
        LOG_INF("LNA config: pin=%d, offset=%d, %s",
            CONFIG_BT_CTLR_GPIO_LNA_PIN, CONFIG_BT_CTLR_GPIO_LNA_OFFSET,
#if CONFIG_BT_CTLR_GPIO_LNA_POL_INV
        "invert"
#else
        "no invert"
#endif
            );
#else
        LOG_INF("LNA is not configured");
#endif
#ifdef CONFIG_BT_CTLR_GPIO_PA        
        LOG_INF("PA config: pin=%d, offset=%d, %s",
            CONFIG_BT_CTLR_GPIO_PA_PIN, CONFIG_BT_CTLR_GPIO_PA_OFFSET,
#if CONFIG_BT_CTLR_GPIO_PA_POL_INV
        "invert"
#else
        "no invert"
#endif
            );
#else
        LOG_INF("PA is not configured");
#endif
}
```

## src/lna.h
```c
#ifndef _WASP_LNA_H
#define _WASP_LNA_H

#ifdef __cplusplus
extern "C" {
#endif

void lna_init(void);

#ifdef __cplusplus
}
#endif

#endif
```
